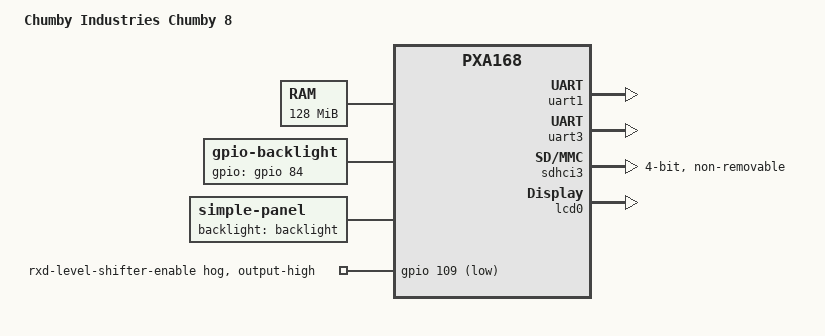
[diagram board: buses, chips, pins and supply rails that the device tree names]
// SPDX-License-Identifier: GPL-2.0-only
/*
 *  Copyright (C) 2012 Marvell Technology Group Ltd.
 *  Author: Haojian Zhuang <haojian.zhuang@marvell.com>
 */

/dts-v1/;
#include "pxa168.dtsi"

/ {
	model = "Chumby Industries Chumby 8";
	compatible = "chumby,chumby8", "mrvl,pxa168";

	chosen {
		bootargs = "console=ttyS0,115200 root=/dev/nfs nfsroot=192.168.1.100:/nfsroot/ ip=192.168.1.101:192.168.1.100::255.255.255.0::eth0:on";
		stdout-path = &uart1;
	};

	memory {
		reg = <0x00000000 0x08000000>; /* 128 MB */
	};

	soc {
		u-boot,dm-pre-proper;

		apb@d4000000 {
			u-boot,dm-pre-proper;
		};
	};

	backlight: backlight {
		compatible = "gpio-backlight";
		gpios = <&gpio 84 GPIO_ACTIVE_HIGH>;
		default-on;
		status = "okay";
	};

	panel: panel {
		compatible = "simple-panel";
		backlight = <&backlight>;
		status = "okay";
	};
};

&uart1 {
	u-boot,dm-pre-proper;
	status = "okay";
};

&uart3 {
	status = "okay";
};

&gpio {
	/* Copied from Chumby old u-boot; this makes sure UART1 input works properly by
	 * setting SPINOR_MODE low, which allows RXD to pass through the level shifter
	 * U103 properly. The pin is labeled as !OE, so mark it as active low in the DT.
	 * This means that "output-high" will actually assert !OE (pin output value = 0)
	 */
	console_rxd_enable {
		gpio-hog;
		gpios = <109 GPIO_ACTIVE_LOW>;
		output-high;
		line-name = "rxd-level-shifter-enable";
	};
};

&sdhci3 {
	non-removable;
	no-1-8-v;
	bus-width = <4>;
	max-frequency = <24000000>;
	cap-sd-highspeed;
	status = "okay";
};

&lcd0 {
	status = "okay";
	u-boot,dm-pre-proper;

	display-timings {
		native-mode = <&timing0>;
		timing0: panel0 {
			hactive = <800>;
			vactive = <600>;
			hfront-porch = <40>;
			hsync-len = <128>;
			hback-porch = <215>;
			vfront-porch = <14>;
			vsync-len = <4>;
			vback-porch = <34>;
			clock-frequency = <44571429>;
		};
	};
};

/*&twsi1 {
	status = "okay";
};

&rtc {
	status = "okay";
};*/
